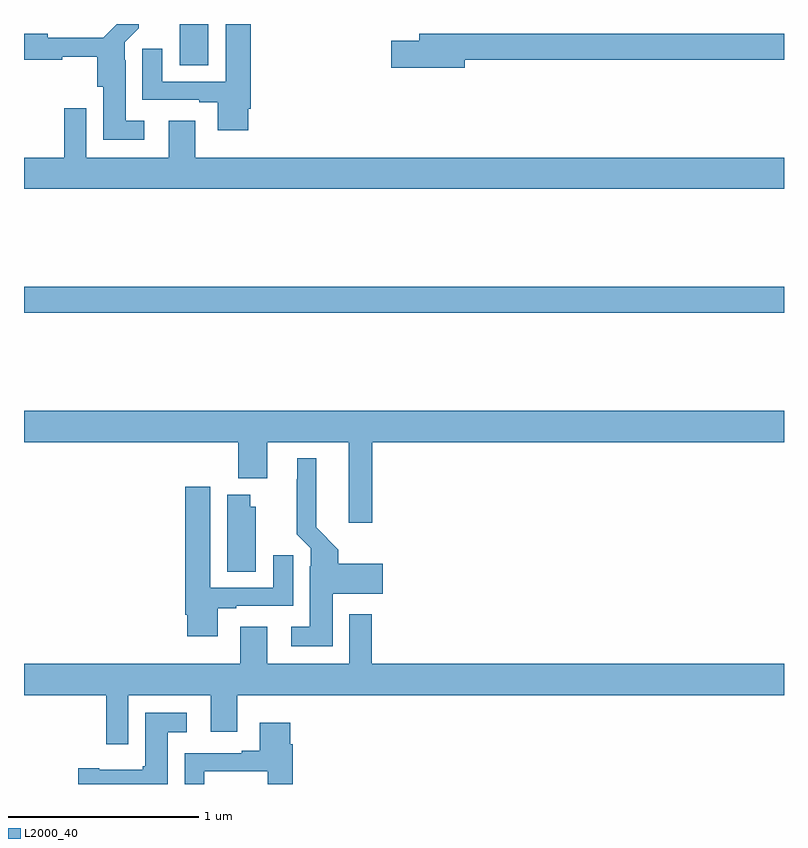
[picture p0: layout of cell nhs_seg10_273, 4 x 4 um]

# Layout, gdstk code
import gdstk
lib = gdstk.Library(unit=1e-6, precision=1e-09)
def R(c, l, rs):  # rectangles x0, y0, x1, y1
    for r in rs: c.add(gdstk.rectangle(r[:2], r[2:], *l))
def P(c, l, *ps):  # polygons
    for p in ps: c.add(gdstk.Polygon(p, *l))
L2000_40 = (2000, 40)

nhs_seg10_273 = lib.new_cell('nhs_seg10_273')
R(nhs_seg10_273, L2000_40, [(123,1316.98,127,1317.116), (123.821,1318.282,123.97,1318.5)])
P(nhs_seg10_273, L2000_40, [(124.18,1318.054),(124.193,1318.054),(124.193,1318.5),(124.061,1318.5),(124.061,1318.197),(123.727,1318.197),(123.727,1318.369),(123.623,1318.369),(123.623,1318.101),(123.923,1318.101),(123.923,1318.089),(124.019,1318.089),(124.019,1317.942),(124.18,1317.942)],
  [(123.634,1317.991),(123.535,1317.991),(123.535,1318.31),(123.531,1318.31),(123.531,1318.404),(123.605,1318.478),(123.605,1318.5),(123.488,1318.5),(123.416,1318.428),(123.125,1318.428),(123.125,1318.448),(123,1318.448),(123,1318.312),(123.202,1318.312),(123.202,1318.327),(123.386,1318.327),(123.386,1318.17),(123.416,1318.17),(123.416,1317.89),(123.634,1317.89)],
  [(125.32,1318.312),(127,1318.312),(127,1318.448),(125.081,1318.448),(125.081,1318.412),(124.932,1318.412),(124.932,1318.27),(125.32,1318.27)],
  [(127,1317.796),(123.901,1317.796),(123.901,1317.991),(123.761,1317.991),(123.761,1317.796),(123.327,1317.796),(123.327,1318.057),(123.211,1318.057),(123.211,1317.796),(123,1317.796),(123,1317.632),(127,1317.632)],
  [(124.832,1316.3),(127,1316.3),(127,1316.464),(123,1316.464),(123,1316.3),(124.127,1316.3),(124.127,1316.108),(124.279,1316.108),(124.279,1316.3),(124.709,1316.3),(124.709,1315.875),(124.832,1315.875)],
  [(124.624,1315.502),(124.888,1315.502),(124.888,1315.66),(124.655,1315.66),(124.655,1315.734),(124.537,1315.852),(124.537,1316.215),(124.439,1316.215),(124.439,1316.105),(124.435,1316.105),(124.435,1315.814),(124.509,1315.74),(124.509,1315.646),(124.505,1315.646),(124.505,1315.327),(124.407,1315.327),(124.407,1315.226),(124.624,1315.226)],
  [(124.021,1315.425),(124.117,1315.425),(124.117,1315.437),(124.417,1315.437),(124.417,1315.705),(124.313,1315.705),(124.313,1315.533),(123.979,1315.533),(123.979,1316.065),(123.848,1316.065),(123.848,1315.39),(123.86,1315.39),(123.86,1315.278),(124.021,1315.278)],
  [(124.219,1315.959),(124.192,1315.959),(124.192,1316.023),(124.07,1316.023),(124.07,1315.618),(124.219,1315.618)],
  [(123.549,1314.968),(123.983,1314.968),(123.983,1314.774),(124.123,1314.774),(124.123,1314.968),(127,1314.968),(127,1315.132),(124.829,1315.132),(124.829,1315.393),(124.713,1315.393),(124.713,1315.132),(124.279,1315.132),(124.279,1315.327),(124.139,1315.327),(124.139,1315.132),(123,1315.132),(123,1314.968),(123.433,1314.968),(123.433,1314.708),(123.549,1314.708)],
  [(123.757,1314.773),(123.856,1314.773),(123.856,1314.874),(123.638,1314.874),(123.638,1314.594),(123.624,1314.594),(123.624,1314.574),(123.397,1314.574),(123.397,1314.582),(123.285,1314.582),(123.285,1314.5),(123.757,1314.5)],
  [(123.949,1314.567),(124.283,1314.567),(124.283,1314.5),(124.415,1314.5),(124.415,1314.71),(124.402,1314.71),(124.402,1314.823),(124.241,1314.823),(124.241,1314.676),(124.145,1314.676),(124.145,1314.663),(123.845,1314.663),(123.845,1314.5),(123.949,1314.5)])

lib.write_gds('nhs_seg10_273.gds')
